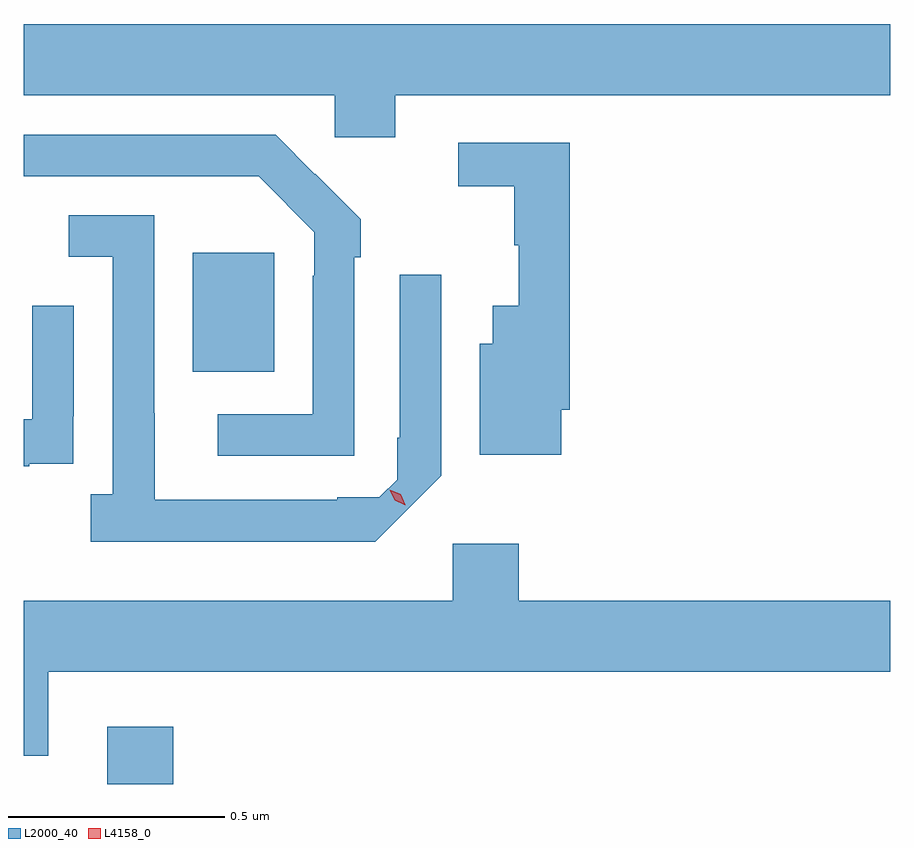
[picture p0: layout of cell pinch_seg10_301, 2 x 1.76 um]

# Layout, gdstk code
import gdstk
lib = gdstk.Library(unit=1e-6, precision=1e-09)
def R(c, l, rs):  # rectangles x0, y0, x1, y1
    for r in rs: c.add(gdstk.rectangle(r[:2], r[2:], *l))
def P(c, l, *ps):  # polygons
    for p in ps: c.add(gdstk.Polygon(p, *l))
L2000_40 = (2000, 40)
L4158_0 = (4158, 0)

pinch_seg10_301 = lib.new_cell('pinch_seg10_301')
R(pinch_seg10_301, L2000_40, [(497.219,1305.385,497.372,1305.517), (497.417,1306.337,497.605,1306.612)])
P(pinch_seg10_301, L2000_40, [(497.884,1306.976),(499.027,1306.976),(499.027,1307.14),(497.027,1307.14),(497.027,1306.976),(497.745,1306.976),(497.745,1306.878),(497.884,1306.878)],
  [(497.79,1306.601),(497.805,1306.601),(497.805,1306.689),(497.7,1306.794),(497.699,1306.793),(497.608,1306.884),(497.027,1306.884),(497.027,1306.788),(497.569,1306.788),(497.697,1306.659),(497.697,1306.559),(497.694,1306.559),(497.694,1306.239),(497.475,1306.239),(497.475,1306.143),(497.79,1306.143)],
  [(498.268,1306.249),(498.287,1306.249),(498.287,1306.866),(498.03,1306.866),(498.03,1306.765),(498.159,1306.765),(498.159,1306.629),(498.17,1306.629),(498.17,1306.489),(498.11,1306.489),(498.11,1306.402),(498.08,1306.402),(498.08,1306.145),(498.268,1306.145)],
  [(497.991,1306.097),(497.991,1306.561),(497.895,1306.561),(497.895,1306.185),(497.889,1306.185),(497.889,1306.088),(497.848,1306.047),(497.751,1306.047),(497.751,1306.041),(497.329,1306.041),(497.329,1306.241),(497.328,1306.241),(497.328,1306.698),(497.13,1306.698),(497.13,1306.602),(497.232,1306.602),(497.232,1306.054),(497.181,1306.054),(497.181,1305.944),(497.838,1305.944)],
  [(497.039,1306.125),(497.141,1306.125),(497.141,1306.234),(497.142,1306.234),(497.142,1306.489),(497.046,1306.489),(497.046,1306.227),(497.027,1306.227),(497.027,1306.119),(497.039,1306.119)],
  [(497.083,1305.644),(499.027,1305.644),(499.027,1305.808),(498.17,1305.808),(498.17,1305.94),(498.017,1305.94),(498.017,1305.808),(497.027,1305.808),(497.027,1305.45),(497.083,1305.45)])
P(pinch_seg10_301, L4158_0, [(497.908,1306.029),(497.883,1306.04),(497.872,1306.065),(497.872,1306.065),(497.872,1306.065),(497.897,1306.054),(497.908,1306.03),(497.908,1306.029)])

lib.write_gds('pinch_seg10_301.gds')
